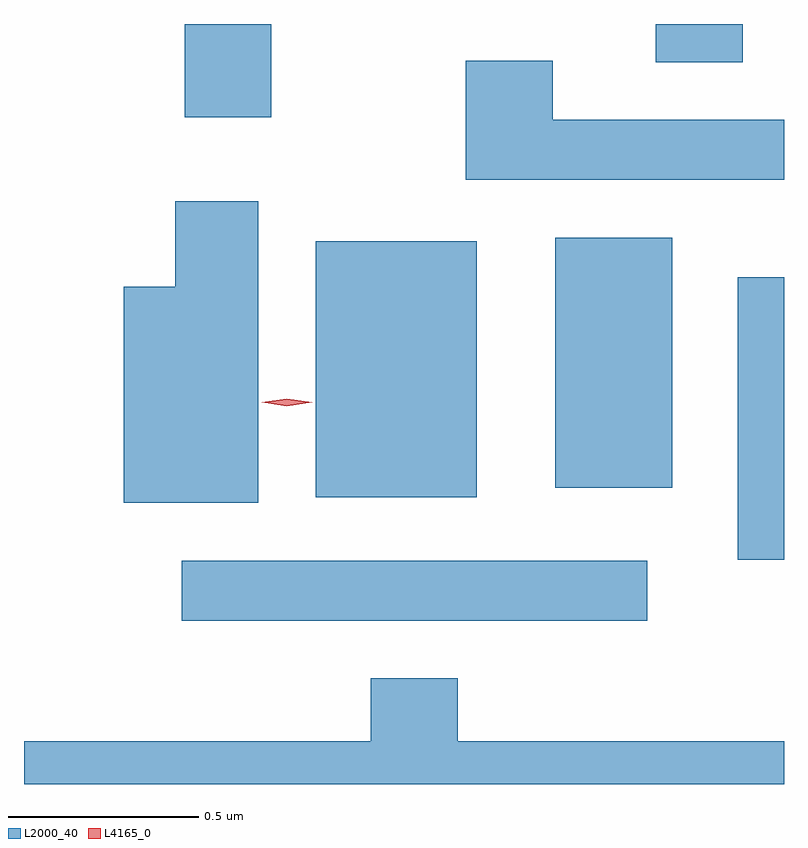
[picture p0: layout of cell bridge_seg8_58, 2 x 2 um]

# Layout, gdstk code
import gdstk
lib = gdstk.Library(unit=1e-6, precision=1e-09)
def R(c, l, rs):  # rectangles x0, y0, x1, y1
    for r in rs: c.add(gdstk.rectangle(r[:2], r[2:], *l))
def P(c, l, *ps):  # polygons
    for p in ps: c.add(gdstk.Polygon(p, *l))
L2000_40 = (2000, 40)
L4165_0 = (4165, 0)

bridge_seg8_58 = lib.new_cell('bridge_seg8_58')
R(bridge_seg8_58, L2000_40, [(1516.973,1908.041,1518.198,1908.199), (1518.436,1908.201,1518.558,1908.944), (1517.326,1908.366,1517.749,1909.039), (1517.956,1908.391,1518.264,1909.049), (1516.981,1909.366,1517.209,1909.611), (1518.221,1909.511,1518.449,1909.611)])
P(bridge_seg8_58, L2000_40, [(1518.558,1909.359),(1517.949,1909.359),(1517.949,1909.514),(1517.721,1909.514),(1517.721,1909.201),(1518.558,1909.201)],
  [(1517.174,1909.144),(1516.956,1909.144),(1516.956,1908.919),(1516.821,1908.919),(1516.821,1908.351),(1517.174,1908.351)],
  [(1518.558,1907.724),(1517.699,1907.724),(1517.699,1907.889),(1517.471,1907.889),(1517.471,1907.724),(1516.558,1907.724),(1516.558,1907.611),(1518.558,1907.611)])
P(bridge_seg8_58, L4165_0, [(1517.25,1908.605),(1517.183,1908.615),(1517.183,1908.615),(1517.183,1908.616),(1517.25,1908.625),(1517.316,1908.616),(1517.316,1908.615),(1517.316,1908.615)])

lib.write_gds('bridge_seg8_58.gds')
